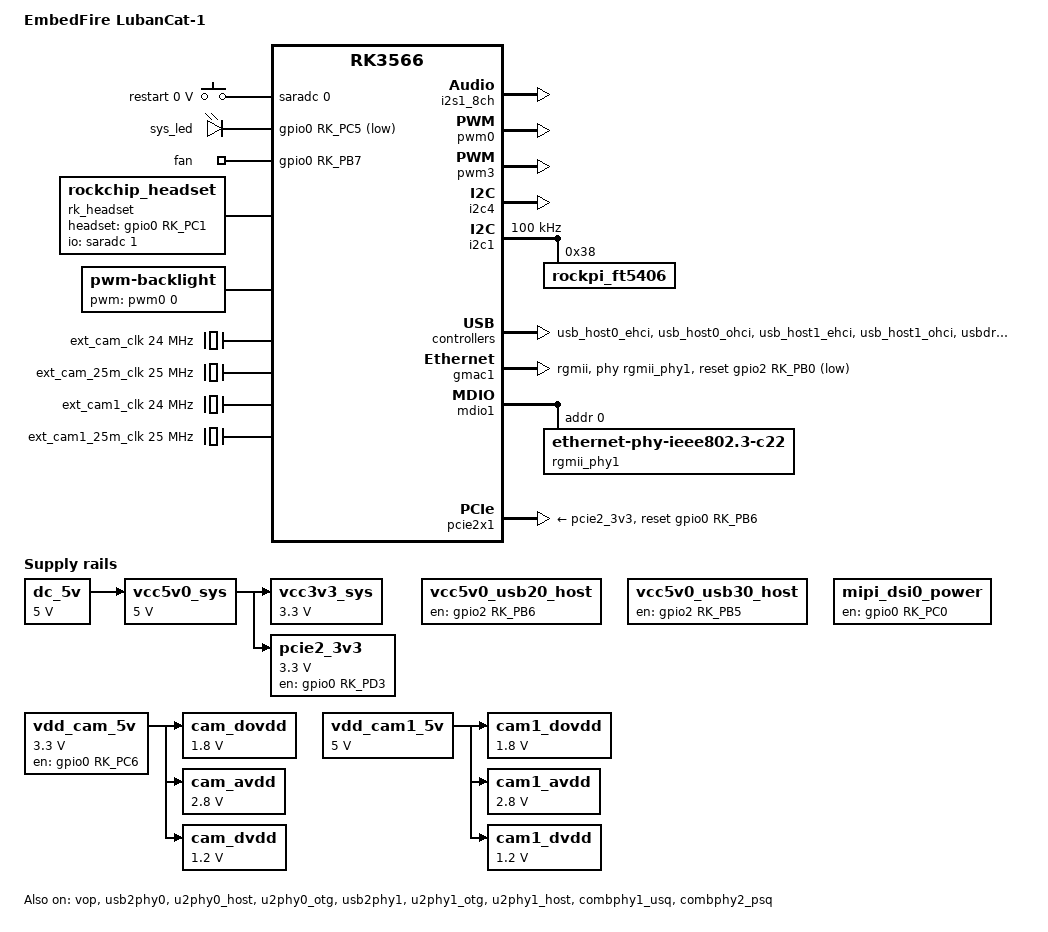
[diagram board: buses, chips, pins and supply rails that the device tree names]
// SPDX-License-Identifier: (GPL-2.0+ OR MIT)
/*
 * Copyright (c) 2020 Rockchip Electronics Co., Ltd.
 *
 */

 /dts-v1/;

#include <dt-bindings/gpio/gpio.h>
#include <dt-bindings/pwm/pwm.h>
#include <dt-bindings/pinctrl/rockchip.h>
#include <dt-bindings/input/rk-input.h>
#include <dt-bindings/display/drm_mipi_dsi.h>
#include <dt-bindings/display/rockchip_vop.h>
#include <dt-bindings/sensor-dev.h>
#include <dt-bindings/phy/jlsemi-dt-phy.h>
#include "rk3566.dtsi"
#include "rk3566-lubancat.dtsi"

//MIPI摄像头配置
#include "rk3566-lubancat-csi2-double.dtsi"

// 屏幕设置，通用镜像使用设备树插件,默认开启hdmi
#include "rk3566-lubancat-hdmi.dtsi" //HDMI输出
// #include "rk3566-lubancat-dsi0-ebf410125_1080p.dtsi" //野火5.5寸 1080P

/ {
	model = "EmbedFire LubanCat-1";
	compatible = "embedfire,lubancat-1", "rockchip,rk3566";

	adc_keys: adc-keys {
		compatible = "adc-keys";
		io-channels = <&saradc 0>;
		io-channel-names = "buttons";
		keyup-threshold-microvolt = <1800000>;
		poll-interval = <100>;

		restart-key {
			label = "restart";
			linux,code = <KEY_RESTART>;
			press-threshold-microvolt = <9>;
		};
	};

	dc_5v: dc-5v {
		compatible = "regulator-fixed";
		regulator-name = "dc_5v";
		regulator-always-on;
		regulator-boot-on;
		regulator-min-microvolt = <5000000>;
		regulator-max-microvolt = <5000000>;
	};

	vcc5v0_sys: vcc5v0-sys {
		compatible = "regulator-fixed";
		regulator-name = "vcc5v0_sys";
		regulator-always-on;
		regulator-boot-on;
		regulator-min-microvolt = <5000000>;
		regulator-max-microvolt = <5000000>;
		vin-supply = <&dc_5v>;
	};

	vcc3v3_sys: vcc3v3-sys {
		compatible = "regulator-fixed";
		regulator-name = "vcc3v3_sys";
		regulator-always-on;
		regulator-boot-on;
		regulator-min-microvolt = <3300000>;
		regulator-max-microvolt = <3300000>;
		vin-supply = <&vcc5v0_sys>;
	};

	vcc5v0_usb20_host: vcc5v0-usb20-host-regulator {
		compatible = "regulator-fixed";
		enable-active-high;
		gpio = <&gpio2 RK_PB6 GPIO_ACTIVE_HIGH>;
		pinctrl-names = "default";
		pinctrl-0 = <&vcc5v0_usb20_host_en>;
		regulator-name = "vcc5v0_usb20_host";
		regulator-always-on;
	};

	vcc5v0_usb30_host: vcc5v0-usb30-host-regulator {
		compatible = "regulator-fixed";
		enable-active-high;
		gpio = <&gpio2 RK_PB5 GPIO_ACTIVE_HIGH>;
		pinctrl-names = "default";
		pinctrl-0 = <&vcc5v0_usb30_host_en>;
		regulator-name = "vcc5v0_usb30_host";
		regulator-always-on;
	};

	pcie2_3v3: pcie2-3v3-regulator {
		compatible = "regulator-fixed";
		regulator-name = "pcie2_3v3";
		regulator-min-microvolt = <3300000>;
		regulator-max-microvolt = <3300000>;
		enable-active-high;
		gpio = <&gpio0 RK_PD3 GPIO_ACTIVE_HIGH>;
		startup-delay-us = <5000>;
		vin-supply = <&vcc5v0_sys>;
		regulator-always-on;
	};

	mipi_dsi0_power: mipi-dsi0-power-regulator {
		compatible = "regulator-fixed";
		enable-active-high;
		gpio = <&gpio0 RK_PC0 GPIO_ACTIVE_HIGH>;
		pinctrl-names = "default";
		pinctrl-0 = <&mipi_dsi0_pwr_en>;
		regulator-name = "mipi_dsi0_power";
		regulator-always-on;
	};

	leds: leds {
		status = "okay";
		compatible = "gpio-leds";

		sys_led: sys-led {
			label = "sys_led";
			linux,default-trigger = "heartbeat";
			default-state = "on";
			gpios = <&gpio0 RK_PC5 GPIO_ACTIVE_LOW>;
			pinctrl-names = "default";
			pinctrl-0 = <&sys_led_pin>;
		};

		fan: fan {
			label = "fan";
			default-state = "on";
			linux,default-trigger = "none";
			gpios = <&gpio0 RK_PB7 GPIO_ACTIVE_HIGH>;
			pinctrl-names = "default";
			pinctrl-0 = <&fan_pin>;
		};

	};

	rk809_sound: rk809-sound {
		status = "okay";
		compatible = "simple-audio-card";
		simple-audio-card,format = "i2s";
		simple-audio-card,name = "rockchip,rk809-codec";
		simple-audio-card,mclk-fs = <256>;
		simple-audio-card,widgets =
			"Microphone", "Mic Jack",
			"Headphone", "Headphone Jack";
		simple-audio-card,routing =
			"Mic Jack", "MICBIAS1",
			"IN1P", "Mic Jack",
			"Headphone Jack", "HPOL",
			"Headphone Jack", "HPOR";
		simple-audio-card,cpu {
			sound-dai = <&i2s1_8ch>;
		};
		simple-audio-card,codec {
			sound-dai = <&rk809_codec>;
		};
	};

	rk_headset: rk-headset {
		status = "okay";
		compatible = "rockchip_headset";
		headset_gpio = <&gpio0 RK_PC1 GPIO_ACTIVE_HIGH>;
		pinctrl-names = "default";
		pinctrl-0 = <&hp_det>;
		io-channels = <&saradc 1>;
	};

	backlight: backlight {
		status = "okay";
		compatible = "pwm-backlight";
		pwms = <&pwm0 0 50000 0>;
		brightness-levels = <
			 95  95  95  95  95  95  95  95
			 95  95  95  95  95  95  95  95
			 95  95  95  95  95  95  95  95
			 95  95  95  95  95  95  95  95
			 95  95  95  95  95  95  95  95
			 95  95  95  95  95  95  95  95
			 95  95  95  95  95  95  95  95
			 95  95  95  95  95  95  95  95
			 95  95  95  95  95  95  95  95
			 95  95  95  95  95  95  95  95
			 95  95  95  95  95  95  95  95
			 88  89  90  91  92  93  94  95
			 96  97  98  99 100 101 102 103
			104 105 106 107 108 109 110 111
			112 113 114 115 116 117 118 119
			120 121 122 123 124 125 126 127
			128 129 130 131 132 133 134 135
			136 137 138 139 140 141 142 143
			144 145 146 147 148 149 150 151
			152 153 154 155 156 157 158 159
			160 161 162 163 164 165 166 167
			168 169 170 171 172 173 174 175
			176 177 178 179 180 181 182 183
			184 185 186 187 188 189 190 191
			192 193 194 195 196 197 198 199
			200 201 202 203 204 205 206 207
			208 209 210 211 212 213 214 215
			216 217 218 219 220 221 222 223
			224 225 226 227 228 229 230 231
			232 233 234 235 236 237 238 239
			240 241 242 243 244 245 246 247
			248 249 250 251 252 253 254 255
		>;
		default-brightness-level = <200>;
	};

	ext_cam_clk: external-camera0-clock {
		compatible = "fixed-clock";
		#clock-cells = <0>;
		clock-frequency = <24000000>;
		clock-output-names = "CLK_CAMERA0_24MHZ";
	};

	ext_cam_25m_clk: external-camera0-25m-clock {
		compatible = "fixed-clock";
		clock-frequency = <25000000>;
		clock-output-names = "ext_cam_25m_clk";
		#clock-cells = <0>;
	};

	ext_cam1_clk: external-camera1-clock {
		compatible = "fixed-clock";
		#clock-cells = <0>;
		clock-frequency = <24000000>;
		clock-output-names = "CLK_CAMERA1_24MHZ";
	};

	ext_cam1_25m_clk: external-camera1-25m-clock {
		compatible = "fixed-clock";
		clock-frequency = <25000000>;
		clock-output-names = "ext_cam1_25m_clk";
		#clock-cells = <0>;
	};

	vdd_cam_5v: vdd-cam-5v-regulator {
		compatible = "regulator-fixed";
		regulator-name = "vdd_cam_5v";
		regulator-min-microvolt = <3300000>;
		regulator-max-microvolt = <3300000>;
		gpio = <&gpio0 RK_PC6 GPIO_ACTIVE_HIGH>;
		pinctrl-names = "default";
		pinctrl-0 = <&cam_pwr_en>;
		enable-active-high;
		regulator-always-on;
	};

	cam_dovdd: cam-dovdd {
		compatible = "regulator-fixed";
		regulator-name = "cam_dovdd";
		regulator-always-on;
		regulator-boot-on;
		regulator-min-microvolt = <1800000>;
		regulator-max-microvolt = <1800000>;
		vin-supply = <&vdd_cam_5v>;
	};

	cam_avdd: cam-avdd {
		compatible = "regulator-fixed";
		regulator-name = "cam_avdd";
		regulator-always-on;
		regulator-boot-on;
		regulator-min-microvolt = <2800000>;
		regulator-max-microvolt = <2800000>;
		vin-supply = <&vdd_cam_5v>;
	};

	cam_dvdd: cam-dvdd {
		compatible = "regulator-fixed";
		regulator-name = "cam_dvdd";
		regulator-always-on;
		regulator-boot-on;
		regulator-min-microvolt = <1200000>;
		regulator-max-microvolt = <1200000>;
		vin-supply = <&vdd_cam_5v>;
	};

	vdd_cam1_5v: vdd-cam1-5v-regulator {
		compatible = "regulator-fixed";
		regulator-name = "vdd_cam1_5v";
		regulator-min-microvolt = <5000000>;
		regulator-max-microvolt = <5000000>;
		enable-active-high;
		regulator-always-on;
	};

	cam1_dovdd: cam1-dovdd {
		compatible = "regulator-fixed";
		regulator-name = "cam1_dovdd";
		regulator-always-on;
		regulator-boot-on;
		regulator-min-microvolt = <1800000>;
		regulator-max-microvolt = <1800000>;
		vin-supply = <&vdd_cam1_5v>;
	};

	cam1_avdd: cam1-avdd {
		compatible = "regulator-fixed";
		regulator-name = "cam1_avdd";
		regulator-always-on;
		regulator-boot-on;
		regulator-min-microvolt = <2800000>;
		regulator-max-microvolt = <2800000>;
		vin-supply = <&vdd_cam1_5v>;
	};

	cam1_dvdd: cam1-dvdd {
		compatible = "regulator-fixed";
		regulator-name = "cam1_dvdd";
		regulator-always-on;
		regulator-boot-on;
		regulator-min-microvolt = <1200000>;
		regulator-max-microvolt = <1200000>;
		vin-supply = <&vdd_cam1_5v>;
	};
};

&i2s1_8ch {
	status = "okay";
	rockchip,clk-trcm = <1>;
	/delete-property/ rockchip,playback-only;
	pinctrl-names = "default";
	pinctrl-0 = <&i2s1m0_sclktx
					&i2s1m0_lrcktx
					&i2s1m0_sdi0
					&i2s1m0_sdo0>;
};

&pwm0 {
	status = "okay";
	pinctrl-0 = <&pwm0m1_pins>;
};

&pwm3 {
	status = "okay";

	compatible = "rockchip,remotectl-pwm";
	remote_pwm_id = <3>;
	handle_cpu_id = <1>;
	remote_support_psci = <0>;
	pinctrl-names = "default";
	pinctrl-0 = <&pwm3_pins>;

	ir_key_lubancat{
		rockchip,usercode = <0xff00>;
		rockchip,key_table =
			<0xeb   KEY_POWER>,
			<0xec   KEY_MENU>,
			<0xfe   KEY_BACK>,
			<0xb7   KEY_HOME>,
			<0xa3   KEY_WWW>,
			<0xf4   KEY_VOLUMEUP>,
			<0xa7   KEY_VOLUMEDOWN>,
			<0xf8   KEY_REPLY>,
			<0xfc   KEY_UP>,
			<0xfd   KEY_DOWN>,
			<0xf1   KEY_LEFT>,
			<0xe5   KEY_RIGHT>;
	};
};

&i2c4 {
	status = "okay";
};

&i2c1 {
	status = "okay";
	clock-frequency = <100000>;

	rockpi_ft5406: rockpi_ft5406@38 {
		compatible = "rockpi_ft5406";
		reg = <0x38>;
		status = "okay";
	};
};

//cam0-gpio-setting
&ov5647 {
	pwdn-gpios = <&gpio0 RK_PC3 GPIO_ACTIVE_LOW>;
};

&ov5648 {
	pwdn-gpios = <&gpio0 RK_PC3 GPIO_ACTIVE_HIGH>;
	reset-gpios = <&gpio0 RK_PC4 GPIO_ACTIVE_LOW>;
};

&ov8858 {
	pwdn-gpios = <&gpio0 RK_PC3 GPIO_ACTIVE_HIGH>;
	reset-gpios = <&gpio0 RK_PC4 GPIO_ACTIVE_HIGH>;
};

&sc132gs {
	pwdn-gpios = <&gpio0 RK_PC3 GPIO_ACTIVE_HIGH>;
	reset-gpios = <&gpio0 RK_PC4 GPIO_ACTIVE_HIGH>;
};

//cam1-gpio-setting
&cam1_ov5647 {
	pwdn-gpios = <&gpio2 RK_PB3 GPIO_ACTIVE_LOW>;
};

&cam1_ov5648 {
	pwdn-gpios = <&gpio2 RK_PB3 GPIO_ACTIVE_HIGH>;
	reset-gpios = <&gpio2 RK_PB4 GPIO_ACTIVE_LOW>;
};

&cam1_ov8858 {
	pwdn-gpios = <&gpio2 RK_PB3 GPIO_ACTIVE_HIGH>;
	reset-gpios = <&gpio2 RK_PB4 GPIO_ACTIVE_HIGH>;
};

&cam1_sc132gs {
	pwdn-gpios = <&gpio2 RK_PB3 GPIO_ACTIVE_HIGH>;
	reset-gpios = <&gpio2 RK_PB4 GPIO_ACTIVE_HIGH>;
};

&pmu_io_domains {
	status = "okay";
	pmuio2-supply = <&vcc3v3_pmu>;
	vccio1-supply = <&vccio_acodec>;
	vccio3-supply = <&vccio_sd>;
	vccio4-supply = <&vcc_3v3>;
	vccio5-supply = <&vcc_3v3>;
	vccio6-supply = <&vcc_1v8>;
	vccio7-supply = <&vcc_3v3>;
};

&vop {
	status = "okay";
	assigned-clocks = <&cru DCLK_VOP0>, <&cru DCLK_VOP1>;
	assigned-clock-parents = <&pmucru PLL_HPLL>, <&cru PLL_VPLL>;
};

&vop_mmu {
	status = "okay";
};

&vp0 {
	rockchip,plane-mask = <(1 << ROCKCHIP_VOP2_CLUSTER0 | 1 << ROCKCHIP_VOP2_ESMART0 | 1 << ROCKCHIP_VOP2_SMART0)>;
	rockchip,primary-plane = <ROCKCHIP_VOP2_SMART0>;
	// cursor-win-id = <ROCKCHIP_VOP2_CLUSTER0>;
};

&vp1 {
	rockchip,plane-mask = <(1 << ROCKCHIP_VOP2_CLUSTER1 | 1 << ROCKCHIP_VOP2_ESMART1 | 1 << ROCKCHIP_VOP2_SMART1)>;
	rockchip,primary-plane = <ROCKCHIP_VOP2_SMART1>;
	// cursor-win-id = <ROCKCHIP_VOP2_CLUSTER1>;
};

/* USB OTG/USB Host_1 USB 2.0 Comb */
&usb2phy0 {
	status = "okay";
};

&u2phy0_host {
	phy-supply = <&vcc5v0_usb30_host>;
	status = "okay";
};

&u2phy0_otg {
	status = "okay";
};

&usb_host0_ehci {
	status = "okay";
};

&usb_host0_ohci {
	status = "okay";
};

/* USB Host_2/USB Host_3 USB 2.0 Comb */
&usb2phy1 {
	status = "okay";
};

&u2phy1_otg {
	phy-supply = <&vcc5v0_usb20_host>;
	status = "okay";
};

&u2phy1_host {
	status = "okay";
};

&usb_host1_ehci {
	status = "okay";
};

&usb_host1_ohci {
	status = "okay";
};

/* USB3.0 OTG Only USB2.0 */
&usbdrd30 {
	status = "okay";
};

&usbdrd_dwc3 {
	status = "okay";
};

/* USB3.0 Host */
&combphy1_usq {
	status = "okay";
};

&usbhost30 {
	status = "okay";
};

&usbhost_dwc3 {
	status = "okay";
};

&gmac1 {
	phy-mode = "rgmii";
	clock_in_out = "output";

	snps,reset-gpio = <&gpio2 RK_PB0 GPIO_ACTIVE_LOW>;
	snps,reset-active-low;
	/* Reset time is 100ms, 100ms */
	snps,reset-delays-us = <0 100000 100000>;

	assigned-clocks = <&cru SCLK_GMAC1_RX_TX>, <&cru SCLK_GMAC1>;
	assigned-clock-parents = <&cru SCLK_GMAC1_RGMII_SPEED>, <&cru CLK_MAC1_2TOP>;
	assigned-clock-rates = <0>, <125000000>;

	pinctrl-names = "default";
	pinctrl-0 = <&gmac1m1_miim
			 &gmac1m1_tx_bus2_level3
			 &gmac1m1_rx_bus2
			 &gmac1m1_rgmii_clk_level2
			 &gmac1m1_rgmii_bus_level3>;

	// tx_delay = <0x1a>;
	// rx_delay = <0x0c>;

	tx_delay = <0x10>;
	rx_delay = <0x5>;

	phy-handle = <&rgmii_phy1>;
	status = "okay";
};

&mdio1 {
	rgmii_phy1: phy@0 {
		compatible = "ethernet-phy-ieee802.3-c22";
		reg = <0x0>;
		jl2xxx,led-enable = <(JL2XXX_LED_STATIC_OP_EN | JL1XXX_LED_MODE_EN)>;
		jl2xxx,led-mode = <(JL2XXX_LED1_LINK10  | \
				 JL2XXX_LED1_LINK100  | \
				 JL2XXX_LED1_LINK1000 | \
				 JL2XXX_LED2_LINK10   | \
				 JL2XXX_LED2_LINK100  | \
				 JL2XXX_LED2_LINK1000 | \
				 JL2XXX_LED2_ACTIVITY )>;
	};
};

&pcie2x1 {
	reset-gpios = <&gpio0 RK_PB6 GPIO_ACTIVE_HIGH>;
	disable-gpios = <&gpio0 RK_PA6 GPIO_ACTIVE_HIGH>;
	vpcie3v3-supply = <&pcie2_3v3>;
	status = "okay";
};

&combphy2_psq {
		status = "okay";
};

&pinctrl {

	headphone {
		hp_det: hp-det {
			rockchip,pins = <0 RK_PC1 RK_FUNC_GPIO &pcfg_pull_none>;
		};
	};

	usb {
		vcc5v0_usb20_host_en: vcc5v0-usb20-host-en {
			rockchip,pins = <2 RK_PB6 RK_FUNC_GPIO &pcfg_pull_none>;
		};

		vcc5v0_usb30_host_en: vcc5v0-usb30-host-en {
			rockchip,pins = <2 RK_PB5 RK_FUNC_GPIO &pcfg_pull_none>;
		};
	};


	lcd {
		mipi_dsi0_pwr_en: mipi-dsi0-pwr-en {
			rockchip,pins = <0 RK_PC0 RK_FUNC_GPIO &pcfg_pull_none>;
		};
	};

	cam {
		cam_pwr_en: cam-pwr-en {
			rockchip,pins = <0 RK_PC6 RK_FUNC_GPIO &pcfg_pull_none>;
		};
	};

	leds {
		sys_led_pin: sys-led-pin {
			rockchip,pins = <0 RK_PC7 RK_FUNC_GPIO &pcfg_pull_none>;
		};

		fan_pin: fan-pin {
			rockchip,pins = <0 RK_PB7 RK_FUNC_GPIO &pcfg_pull_none>;
		};
	};

	spi3 {
		spi3_cs0: spi3-cs0 {
			rockchip,pins = <4 RK_PC6 RK_FUNC_GPIO &pcfg_pull_up_drv_level_0>;
		};

		spi3_cs1: spi3-cs1 {
			rockchip,pins = <4 RK_PC4 RK_FUNC_GPIO &pcfg_pull_up_drv_level_0>;
		};
	};
};
